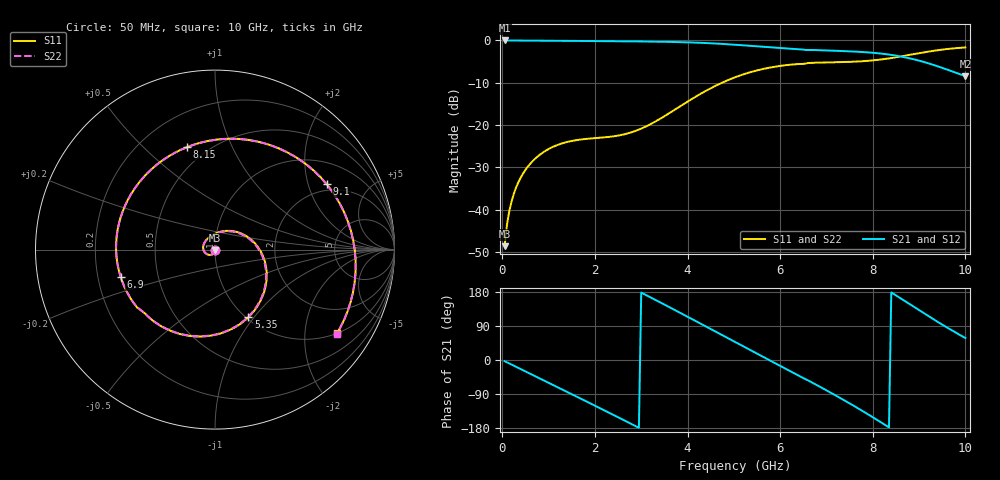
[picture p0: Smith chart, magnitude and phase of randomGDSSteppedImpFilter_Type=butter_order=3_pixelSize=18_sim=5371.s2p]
! freq	dB(S11)	phase(S11)	dB(S12)	phase(S12)
!  dB(S21)	phase(S21)	dB(S22)	phase(S22)
!S-par simulation data
#  GHz  S  DB  R 50
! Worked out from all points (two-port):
!   200 points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, 50 MHz to 10 GHz, reference 50 ohm
!   highest |S21| = -0.02 dB at 50 MHz (marker M1); lowest = -8.4 dB at 10 GHz (marker M2)
!   |S21| within 3 dB of the highest: start of sweep to 8.092 GHz
!   lowest |S11| = -48.6 dB at 50 MHz (marker M3), VSWR 1.01, Z = 50.2 - j0.338 ohm
!   |S11| at or under -10 dB: start of sweep to 4.744 GHz
!   |S22| runs from -48.6 to -1.7 dB; largest |S21 - S12| = 0
!   S11 on the Smith chart (normalised r, x): 50 MHz: 1.00, -0.01; 5.35 GHz: 1.02, -0.94; 6.9 GHz: 0.30, -0.13; 8.15 GHz: 0.39, +0.69; 9.1 GHz: 1.75, +2.65; 10 GHz: 1.00, -2.92
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0.05  -48.59 -65.0  -0.02 -3.1  -0.02 -3.1  -48.59 -65.0
0.2  -38.03 -94.6  -0.03 -12.1  -0.03 -12.1  -38.03 -94.7
0.5  -30.58 -118.6  -0.05 -30.0  -0.05 -30.0  -30.58 -118.9
1.15  -24.87 -160.0  -0.10 -69.1  -0.10 -69.1  -24.88 -160.7
1.75  -23.33 163.4  -0.14 -105.3  -0.14 -105.3  -23.33 162.1
2.65  -22.13 108.5  -0.22 -160.3  -0.22 -160.3  -22.13 106.1
3.4  -18.57 61.9  -0.31 152.7  -0.31 152.7  -18.56 59.5
3.85  -15.50 33.3  -0.42 123.9  -0.42 123.9  -15.50 31.4
4.25  -12.82 7.6  -0.56 98.0  -0.56 98.0  -12.82 6.0
4.65  -10.48 -18.3  -0.77 71.8  -0.77 71.8  -10.48 -19.7
5.05  -8.62 -44.3  -1.05 45.7  -1.05 45.7  -8.62 -45.4
5.35  -7.53 -63.7  -1.29 26.2  -1.29 26.2  -7.53 -64.7
6  -6.03 -105.3  -1.82 -15.4  -1.82 -15.4  -6.03 -106.2
6.7  -5.30 -150.4  -2.26 -60.2  -2.26 -60.2  -5.30 -151.2
6.9  -5.23 -163.9  -2.34 -73.4  -2.34 -73.4  -5.23 -164.7
7.5  -5.07 154.2  -2.59 -114.5  -2.59 -114.5  -5.07 153.4
8.15  -4.55 105.1  -3.08 -162.4  -3.08 -162.4  -4.55 104.5
8.35  -4.25 89.4  -3.35 -177.8  -3.35 -177.8  -4.25 88.8
8.7  -3.61 61.7  -4.01 154.9  -4.01 154.9  -3.61 61.1
9.1  -2.84 30.3  -5.09 123.6  -5.09 123.6  -2.84 29.8
9.55  -2.11 -3.3  -6.68 89.6  -6.68 89.6  -2.11 -3.7
10  -1.67 -34.4  -8.44 58.0  -8.44 58.0  -1.67 -34.8
